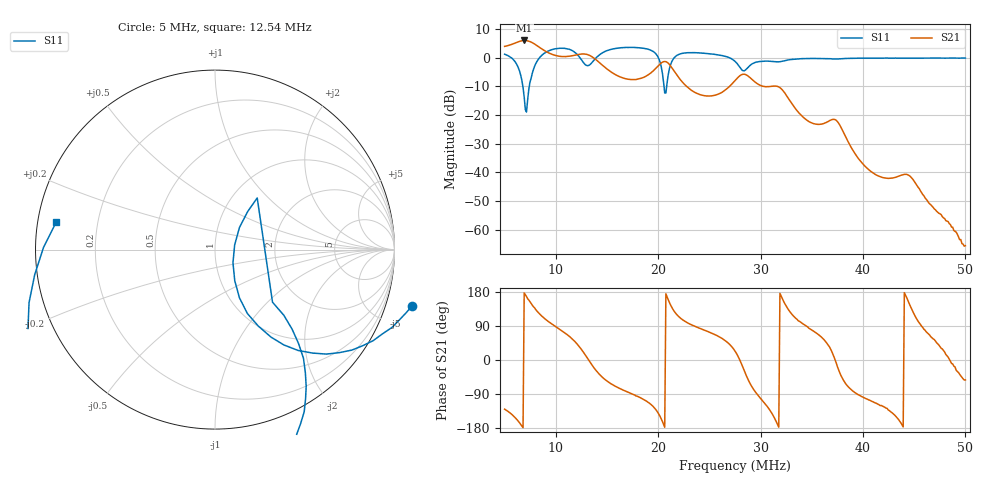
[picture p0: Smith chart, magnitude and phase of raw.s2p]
! S11/S21 only; reverse parameters are placeholders. Device calibration unverified.
! NanoVNA F V2 profile | COM3 | 2026-09-08T11:19:43.1295745-04:00 | device calibration unverified
# HZ S RI R 50
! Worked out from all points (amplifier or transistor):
!   401 points, 5 MHz to 50 MHz, reference 50 ohm
!   highest |S21| = 5.9 dB at 6.912 MHz (marker M1)
!   |S21| within 3 dB of that: start of sweep to 8.658 MHz
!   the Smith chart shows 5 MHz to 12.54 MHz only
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5000000  1.1 -0.3116  -0.9985 -1.202  0 0  0 0
6012500  0.6209 -0.5821  -1.571 -0.8484  0 0  0 0
6912500  0.1101 -0.1736  -1.978 0.1087  0 0  0 0
7362500  0.182 0.2119  -1.792 0.7127  0 0  0 0
8150000  0.5034 -0.6851  -1.025 1.248  0 0  0 0
1.04e7  -0.2261 -1.431  0.1702 1.034  0 0  0 0
1.1525e7  -0.8679 -1.022  0.5738 0.8998  0 0  0 0
1.25375e7  -0.8837 0.1553  1.031 0.5155  0 0  0 0
1.34375e7  0.2486 0.7409  1.043 -0.1759  0 0  0 0
1.5125e7  1.336 -0.1304  0.3221 -0.5153  0 0  0 0
1.8275e7  1.105 -0.9684  -0.0726 -0.4256  0 0  0 0
2.0075e7  0.2562 -0.9033  -0.5932 -0.439  0 0  0 0
2.10875e7  0.6197 0.1168  -0.6706 0.3558  0 0  0 0
2.26625e7  1.151 -0.3533  -0.0635 0.3224  0 0  0 0
2.75e7  0.5682 -0.6434  0.3631 0.1591  0 0  0 0
2.9075e7  0.7095 -0.2597  0.1665 -0.3959  0 0  0 0
3.16625e7  0.7103 -0.4486  -0.3098 -0.0521  0 0  0 0
3.50375e7  0.7041 -0.6576  0.0144 0.0708  0 0  0 0
3.74e7  0.6067 -0.721  0.0794 -0.0124  0 0  0 0
4.2575e7  0.4369 -0.8727  -0.00547 -0.00573  0 0  0 0
4.46e7  0.3602 -0.9038  -0.00692 0.00513  0 0  0 0
5e7  0.1591 -0.9641  0.000323 -0.000423  0 0  0 0
